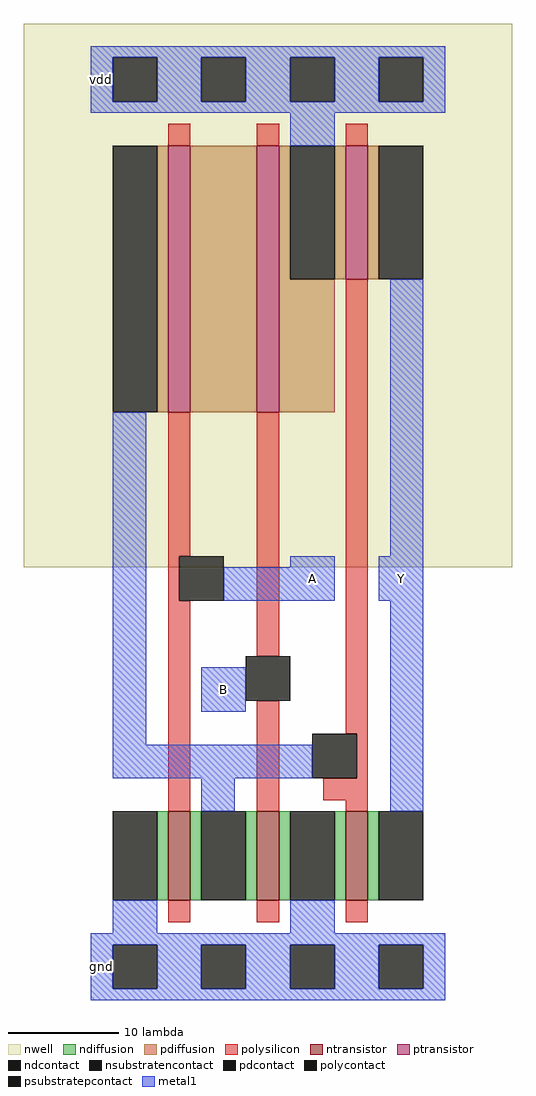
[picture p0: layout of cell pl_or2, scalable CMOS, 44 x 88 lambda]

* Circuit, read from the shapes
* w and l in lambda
.subckt pl_or2 A B Y vdd gnd
M1 n1 A gnd gnd nfet w=8 l=2
M2 gnd B n1 gnd nfet w=8 l=2
M3 Y n1 gnd gnd nfet w=8 l=2
M4 n2 A n1 vdd pfet w=24 l=2
M5 vdd B n2 vdd pfet w=24 l=2
M6 Y n1 vdd vdd pfet w=12 l=2
.ends

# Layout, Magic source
magic
tech scmos
<< nwell >>
rect -6 36 38 85
<< ndiffusion >>
rect 6 6 7 14
rect 9 6 10 14
rect 14 6 15 14
rect 17 6 18 14
rect 22 6 23 14
rect 25 6 26 14
<< pdiffusion >>
rect 6 50 7 74
rect 9 50 15 74
rect 17 50 22 62
rect 17 62 18 74
rect 22 62 23 74
rect 25 62 26 74
<< polysilicon >>
rect 7 4 9 6
rect 15 4 17 6
rect 23 4 25 6
rect 7 14 9 33
rect 15 14 17 24
rect 23 14 25 15
rect 21 15 25 17
rect 24 17 25 21
rect 23 21 25 62
rect 15 28 17 50
rect 7 33 8 37
rect 7 37 9 50
rect 7 74 9 76
rect 15 74 17 76
rect 23 74 25 76
<< ntransistor >>
rect 7 6 9 14
rect 15 6 17 14
rect 23 6 25 14
<< ptransistor >>
rect 7 50 9 74
rect 15 50 17 74
rect 23 62 25 74
<< ndcontact >>
rect 2 6 6 14
rect 10 6 14 14
rect 18 6 22 14
rect 26 6 30 14
<< pdcontact >>
rect 2 50 6 74
rect 18 62 22 74
rect 26 62 30 74
<< polycontact >>
rect 20 17 24 21
rect 14 24 18 28
rect 8 33 12 37
<< psubstratepcontact >>
rect 2 -2 6 2
rect 10 -2 14 2
rect 18 -2 22 2
rect 26 -2 30 2
<< nsubstratencontact >>
rect 2 78 6 82
rect 10 78 14 82
rect 18 78 22 82
rect 26 78 30 82
<< metal1 >>
rect 0 -3 32 -2
rect 0 -2 2 2
rect 6 -2 10 2
rect 14 -2 18 2
rect 22 -2 26 2
rect 30 -2 32 2
rect 0 2 32 3
rect 2 3 6 6
rect 18 3 22 6
rect 10 14 13 17
rect 27 14 30 33
rect 2 17 20 20
rect 2 20 5 50
rect 10 23 14 27
rect 12 33 22 36
rect 26 33 30 37
rect 18 36 22 37
rect 27 37 30 62
rect 18 74 22 77
rect 0 77 32 78
rect 0 78 2 82
rect 6 78 10 82
rect 14 78 18 82
rect 22 78 26 82
rect 30 78 32 82
rect 0 82 32 83
<< labels >>
rlabel metal1 s 18 33 22 37 0 A
port 1 nsew signal input
rlabel metal1 s 10 23 14 27 0 B
port 2 nsew signal input
rlabel metal1 s 26 33 30 37 0 Y
port 3 nsew signal output
rlabel metal1 s 0 77 2 83 0 vdd
port 4 nsew power bidirectional
rlabel metal1 s 0 -3 2 3 0 gnd
port 5 nsew ground bidirectional
<< properties >>
string FIXED_BBOX 0 0 32 80
<< end >>
